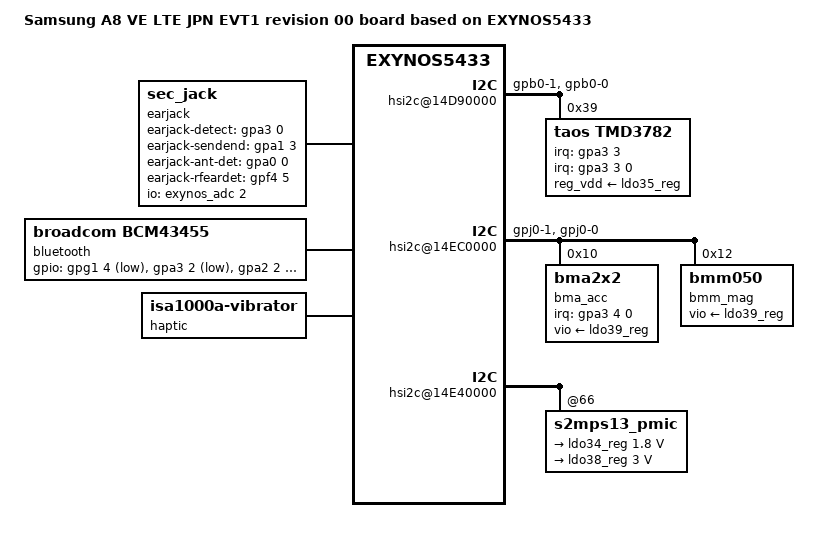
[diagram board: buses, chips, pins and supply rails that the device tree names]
/*
 * SAMSUNG UNIVERSAL5433 board device tree source
 *
 * Copyright (c) 2013 Samsung Electronics Co., Ltd.
 *		http://www.samsung.com
 *
 * This program is free software; you can redistribute it and/or modify
 * it under the terms of the GNU General Public License version 2 as
 * published by the Free Software Foundation.
*/
/dts-v1/;
#include "exynos5433-a8hplte_common.dtsi"
#include "exynos5433-a8hplte_jpn_gpio_00.dtsi"
#include "exynos5433-a8hplte_fingerprint-sensor_00.dtsi"
#include "exynos5433-a8hplte-modem-ss333-ds.dtsi"
#include "exynos5433-a8hplte_jpn_battery_00.dtsi"
#include "exynos5433-a8hplte_jpn-secnfc-tuner-r00.dtsi"
#include "exynos5433-a8hplte_jpn-isdbt-00.dtsi"

/ {
	model = "Samsung A8 VE LTE JPN EVT1 revision 00 board based on EXYNOS5433";
	model_info-chip = <5433>;
	model_info-platform = "a8hplte";
	model_info-subtype = "a8hplte_jpn_kdi";
	model_info-hw_rev = <0>;
	model_info-hw_rev_end = <0>;
	compatible = "samsung,A8 VE LTE EVT1 JPN,r00", "samsung,exynos5433";

	det_zones: det_zones {
		#list-det-cells = <4>;
	};

	but_zones: but_zones {
		#list-but-cells = <3>;
	};

	earjack {
		compatible = "sec_jack";
		earjack-detect-gpio = <&gpa3 0 0>;
		earjack-sendend-gpio = <&gpa1 3 0>;
		earjack-ant-det-gpio = <&gpa0 0 0>;
	/*	earjack-micbias-gpio = <&gpv7 3 0>; */
		earjack-rfeardet-gpio = <&gpf4 5 0>;

		det-zones-list = <&det_zones 0 10 10 0>,
				 <&det_zones 2150 10 10 0>,
				 <&det_zones 2151 10 10 1>,
				 <&det_zones 9997 10 10 1>,
				 <&det_zones 9998 10 10 2>,
				 <&det_zones 9999 10 10 2>;
		fac-det-zones-list = <&det_zones 0 10 10 0>,
				 <&det_zones 2150 10 10 0>,
				 <&det_zones 2151 10 10 1>,
				 <&det_zones 9997 10 10 1>,
				 <&det_zones 9998 10 10 2>,
				 <&det_zones 9999 10 10 2>;
		but-zones-list = <&but_zones 0 0 415>,
				 <&but_zones 1 416 790>,
				 <&but_zones 2 791 1500>;
		pinctrl-names = "earjack_gpio_active","earjack_gpio_suspend";
		pinctrl-0 = <&earjack_det_act &earjack_switch_act>;
		pinctrl-1 = <&earjack_det_sus &earjack_switch_sus>;

		io-channels = <&exynos_adc 2>;
		io-channel-names = "adc-earjack";

		use-codec-micbias;
	};

	pinctrl@10580000 {
		/* 3.5 pi Earjack */
		earjack_det_act: earjack_det_act {
			samsung,pins = "gpa3-0";
			samsung,pin-function = <0x0>;		/* IN */
			samsung,pin-pud = <0>;			/* No PULL */
			samsung,pin-drv = <0>;
		};
		earjack_det_sus: earjack_det_sus {
			samsung,pins = "gpa3-0";
			samsung,pin-function = <0>;		/* IN */
			samsung,pin-pud = <0>;			/* No PULL */
			samsung,pin-drv = <0>;
		};
	};

	pinctrl@10580000 {
		/* EAR_SEND_END */
		earjack_switch_act: earjack_switch_act {
			samsung,pins = "gpa1-3";
			samsung,pin-function = <0x0>;		/* IN */
			samsung,pin-pud = <0>;			/* No PULL */
			samsung,pin-drv = <0>;
		};
		earjack_switch_sus: earjack_switch_sus {
			samsung,pins = "gpa1-3";
			samsung,pin-function = <0>;		/* IN */
			samsung,pin-pud = <0>;			/* No PULL */
			samsung,pin-drv = <0>;
		};
	};	

	pinctrl@114B0000 {
		uart_aud_rts: uart-aud-rts {
			samsung,pins = "gpz1-3";
			samsung,pin-function = <2>;
			samsung,pin-pud = <0>;
			samsung,pin-con-pdn = <1>;
			samsung,pin-pud-pdn = <0>;
		};

		uart_aud_cts: uart-aud-cts {
			samsung,pins = "gpz1-2";
			samsung,pin-function = <2>;
			samsung,pin-pud = <0>;
			samsung,pin-con-pdn = <2>;
			samsung,pin-pud-pdn = <0>;
		};

		uart_aud_rx: uart-aud-rx {
			samsung,pins = "gpz1-1";
			samsung,pin-function = <2>;
			samsung,pin-pud = <0>;
			samsung,pin-con-pdn = <2>;
			samsung,pin-pud-pdn = <0>;
		};

		uart_aud_tx: uart-aud-tx {
			samsung,pins = "gpz1-0";
			samsung,pin-function = <2>;
			samsung,pin-pud = <0>;
			samsung,pin-con-pdn = <1>;
			samsung,pin-pud-pdn = <0>;
		};
	};

	serial@11460000 {
		pinctrl-0 = <&uart_aud_rts &uart_aud_cts &uart_aud_rx &uart_aud_tx>;
		pinctrl-1 = <&uart_aud_rx &uart_aud_tx &uart_aud_bus_idle>;
	};

	pinctrl@14CC0000 {
		cfg_en: cfg-en {
			samsung,pins ="gpg1-4";
			samsung,pin-function = <1>;
			samsung,pin-pud = <1>;
			samsung,pin-con-pdn = <3>;
			samsung,pin-pud-pdn = <1>;
		};
	};

	pinctrl@10580000{
		cfg_hostwake: cfg-hostwake {
			samsung,pins = "gpa2-2";
			samsung,pin-function = <0>;
			samsung,pin-pud = <0>;
		};

		cfg_btwake: cfg-btwake {
			samsung,pins = "gpa3-2";
			samsung,pin-function = <1>;
			samsung,pin-pud = <1>;
		};
	};
	bluetooth {
		compatible = "broadcom,bcm43455";

		gpios = <&gpg1 4 1	/*BT_EN*/
				&gpa3 2 1	/*BT_WAKE*/
				&gpa2 2 0xF	/*BT_HOST_WAKE*/ >;

		pinctrl-names = "default";
		pinctrl-0=<&cfg_hostwake &cfg_btwake &cfg_en>;
		status = "okay";
	};

	i2c@25 {
		status = "disable";
		muic-universal@25 {
			status = "disable";
		};
	};

	muic {
		status = "okay";
		muic,support-list = "MHL","OTG","Charging Cable","Jig USB On","Jig UART Off",
				    "Jig UART Off + VB","Jig UART On",
				    "TA","USB","CDP","Undefined Charging",
				    "Unofficial ID","Unofficial ID + TA","Unofficial ID + ANY TA",
				    "Unofficial ID + USB","Unofficial ID + CDP",
				    "Deskdock","Deskdock + VB",
				    "Fuelgauge test","HMT";
		muic,afcmode-tx = /bits/ 8 <0x46>;
		muic,qc-hv = /bits/ 8 <0x9>;
	};

	chosen {
		bootargs = "console=ttySAC2,115200 vmalloc=256M";
	};

	/* UART Pin configs */
	pinctrl@14CC0000 {
		uart2_bus: uart2-bus {
			samsung,pins = "gpd1-4", "gpd1-5";
			samsung,pin-function = <2>;
			samsung,pin-pud = <0>;
		};
	};

	pinctrl@14CD0000 {
		sensor2_i2c: sensor2_i2c {
			samsung,pins = "gpj0-1", "gpj0-0";
			samsung,pin-function = <4>;
			samsung,pin-pud = <0>;
			samsung,pin-drv = <0>;
		};
	};

	pinctrl@14CC0000 {
		sensor_i2c: sensor_i2c {
			samsung,pins = "gpb0-1", "gpb0-0";
			samsung,pin-function = <4>;
			samsung,pin-pud = <0>;
			samsung,pin-drv = <0>;
		};
	};

	pinctrl@10580000 {
		prox_irq: prox_irq {
			samsung,pins = "gpa3-3";
			samsung,pin-function = <0>;
			samsung,pin-pud = <0>;
			samsung,pin-drv = <0>;
		};
		acc_int: acc_int {
			samsung,pins = "gpa3-4";
			samsung,pin-function = <0>;
			samsung,pin-pud = <1>;
			samsung,pin-drv = <0>;
		};
	};

	hsi2c@14D90000 {
		status = "okay";
		pinctrl-names = "default";
		pinctrl-0 = <&sensor_i2c>;

		tmd3782@39 {
			compatible = "taos,tmd3782";
			reg = <0x39>;
			pinctrl-names = "default";
			pinctrl-0 = <&prox_irq>;
			interrupts = <3 0 0>;
			interrupt-parent = <&gpa3>;
			taos,irq_gpio = <&gpa3 3 0>;
			reg_vdd-supply = <&ldo35_reg>;
			taos,prox_rawdata_trim = <170>;
			taos,prox_thresh_hi = <480>;
			taos,prox_thresh_low = <340>;
			taos,als_time = <0xEB>;
			taos,intr_filter = <0x33>;
			taos,prox_pulsecnt = <0x06>;
			taos,als_gain = <0x22>;
			taos,coef_atime = <50>;
			taos,ga = <97>;
			taos,coef_a = <1000>;
			taos,coef_b = <1880>;
			taos,coef_c = <642>;
			taos,coef_d = <1140>;
		};
	};

	hsi2c@14EC0000 {
		status = "okay";
		pinctrl-names = "default";
		pinctrl-0 = <&sensor2_i2c>;

		bma_acc@10 {
			compatible = "bma2x2";
			reg = <0x10>;
			pinctrl-names = "default";
			pinctrl-0 = <&acc_int>;
			interrupts = <4 0 0>;
			interrupt-parent = <&gpa3>;
			bma2x2,gpio_int1 = <&gpa3 4 0x00>;
			bma2x2,vio-supply = <&ldo39_reg>;
			bma2x2,fs_range = <0x00>;
			bma2x2,poll_interval = <100>;
			bma2x2,min_interval = <2>;
			bma2x2,supply_type = <1>;
			bma2x2,accel_place = <0>;
		};
		bmm_mag@12 {
			compatible = "bmm050";
			reg = <0x12>;
			status = "okay";
			bmm050,vio-supply = <&ldo39_reg>;
			bmm050,poll_interval = <100>;
			bmm050,min_interval = <13>;
			bmm050,fs_range = <0x60>;
			bmm050,magnetic_place = <0>;
		};
	};

	/* Motor */
	haptic {
		status = "okay";
		compatible = "isa1000a-vibrator";
		pinctrl-names = "default";
		pinctrl-0 = <&motor_en &vibetonz_pwm>;
		haptic,max_timeout = <10000>;
		haptic,duty = <31900>; /* ratio = 83.7% */
		haptic,period = <38110>; /* freq = 205 * 128 = 26240hz */
		haptic,pwm_id = <0>;
		haptic,en = <&gpd4 0 0>;
	};

	pinctrl@14CC0000 {
		vibetonz_pwm: vibetonz-pwm {
			samsung,pins = "gpd2-4";
			samsung,pin-function = <2>;
		      samsung,pin-pud = <0>;
		      samsung,pin-drv = <0>;
	      };
		motor_en: motor_en {
			samsung,pins = "gpd4-0";
			samsung,pin-function = <1>;
			samsung,pin-pud = <0>;
			samsung,pin-drv = <0>;
		};
	};

	hsi2c@14E40000 {
		s2mps13_pmic@66 {
			regulators {
				ldo34_reg: LDO34 {
					regulator-name = "VDD_NFC_1.8V";
					regulator-min-microvolt = <1800000>;
					regulator-max-microvolt = <1800000>;
				};

				ldo38_reg: LDO38 {
					regulator-name = "VDD_MOTOR_3.0V";
					regulator-min-microvolt = <3000000>;
					regulator-max-microvolt = <3000000>;
				};
			};
		};
	};

	/* Camera Flash */
	fimc_is_sensor0: fimc_is_sensor@12100000 {
		flash_id = <5>;
	};

	leds_ktd2692 {
		compatible = "ktd2692";
		flash_control = <&gpc0 1 0x1>;
		status = "okay";
		movie_current = <3>; /*level 4 in 16*/
		pinctrl-names ="default","host","is";
		pinctrl-0 = <&fimc_is_flash_is>;
		pinctrl-1 = <&fimc_is_flash_host>;
		pinctrl-2 = <&fimc_is_flash_is>;
	};

	pinctrl@14CC0000 {
		fimc_is_flash_host: fimc-is-flash-host {
			samsung,pins = "gpc0-1";
			samsung,pin-function = <1>;
			samsung,pin-pud = <1>;
			samsung,pin-drv = <0>;
		};

		fimc_is_flash_is: fimc-is-flash-is {
			samsung,pins = "gpc0-1";
			samsung,pin-function = <2>;
			samsung,pin-pud = <1>;
			samsung,pin-drv = <0>;
		};
	};
};
